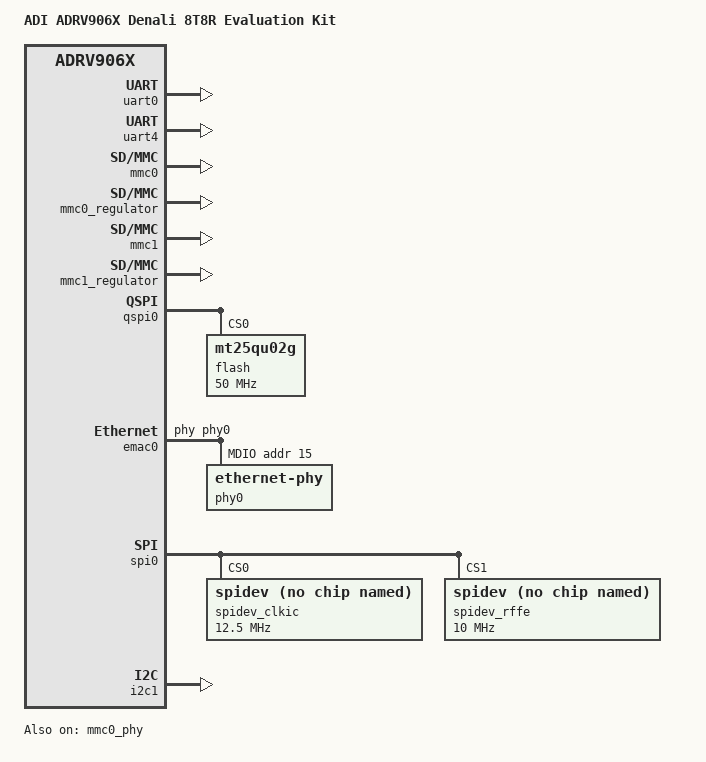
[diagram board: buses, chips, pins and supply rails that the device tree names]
// SPDX-License-Identifier: GPL-2.0
/*
 * Copyright (c) 2023, Analog Devices Incorporated, All Rights Reserved
 */

#include "adrv906x-dual-tile.dtsi"
#include "adrv906x-sysc.dtsi"
#include "adrv906x-protium.dtsi"
#include "adrv906x-eth-8t8r.dtsi"

/ {
	model = "ADI ADRV906X Denali 8T8R Evaluation Kit";
	compatible = "adi,adrv906x-denali-8", "adi,adrv906x";

	chosen {
		bootargs = "console=ttyAMA0,115200n8 earlycon=pl011,0x20060000 rootwait uio_pdrv_genirq.of_id=generic-uio panic=-1 reboot=w";
		stdout-path = &uart0;
	};
};

/* Remove CTSIN and RTSOUT. CTSIN conflicts with GPIO 51 below */
&pinctrl_uart4 {
	adi,pins = <
	UART4_RXSIN_PIN		(ADI_CONFIG_ENABLE_SCHMITT_TRIGGER)
	UART4_TXSOUT_PIN	(ADI_CONFIG_NO_PULL  | ADI_CONFIG_DRIVE_STRENGTH_4)
	>;
};

&uart0 {
	status = "okay";
};

&uart4 {
	status = "okay";
};

&mmc0 {
	status = "okay";
};

&mmc0_regulator {
	status = "okay";
};

&mmc0_phy {
	status = "okay";
};

&mmc1 {
	status = "okay";
};

&mmc1_regulator {
	status = "okay";
};

&qspi0 {
	status = "okay";
	storage,flash-handle = <&flash>;

	flash: mt25q@0 {
		compatible = "mt25qu02g", "jedec,spi-nor";
		spi-max-frequency = <50000000>;
		reg = <0>;
		spi-tx-bus-width = <4>;
		spi-rx-bus-width = <4>;
		adi,enable-dma;

		#include "adrv906x-nor-flash-part.dtsi"
	};
};

&qspi0_dma {
	status = "okay";
};

&emac0 {
	status = "okay";
	/* Default to RGMII. For RMII uncomment the next lines:
	phy-mode = "rmii";
	pinctrl-0 = <&pinctrl_emac0_rmii>; */

	phy-handle = <&phy0>;

	mdio0 {
		#address-cells = <1>;
		#size-cells = <0>;
		compatible = "snps,dwmac-mdio";
		phy0: ethernet-phy@0 {
			reg = <15>;
		};
	};
};

&spi0 {
	status = "okay";

	spidev_clkic@0 {
		compatible = "linux,spidev";
		spi-max-frequency = <12500000>;
		reg = <0>;
	};

	spidev_rffe@1 {
		compatible = "linux,spidev";
		spi-max-frequency = <10000000>;
		reg = <1>;
	};
};

&i2c1 {
	status = "okay";

	/* MAX6581 temp sensor. Bus addr can vary from board
	 * to board, so four different entries are needed.
	 */
	temp-sensor@4c {
		status = "disabled";
		compatible = "maxim,max6581";
		reg = <0x4c>;
		smbus-timeout-disable;
		extended-range-enable;
		resistance-cancellation;
		alert-mask = <0x7f>; 		/* Ignore all alerts */
		over-temperature-mask = <0x7f>;	/* Ignore all alerts */
	};
	temp-sensor@4d {
		status = "disabled";
		compatible = "maxim,max6581";
		reg = <0x4d>;
		smbus-timeout-disable;
		extended-range-enable;
		resistance-cancellation;
		alert-mask = <0x7f>;		/* Ignore all alerts */
		over-temperature-mask = <0x7f>;	/* Ignore all alerts */
	};
	temp-sensor@4e {
		status = "disabled";
		compatible = "maxim,max6581";
		reg = <0x4e>;
		smbus-timeout-disable;
		extended-range-enable;
		resistance-cancellation;
		alert-mask = <0x7f>;		/* Ignore all alerts */
		over-temperature-mask = <0x7f>;	/* Ignore all alerts */
	};
	temp-sensor@4f {
		status = "disabled";
		compatible = "maxim,max6581";
		reg = <0x4f>;
		smbus-timeout-disable;
		extended-range-enable;
		resistance-cancellation;
		alert-mask = <0x7f>;		/* Ignore all alerts */
		over-temperature-mask = <0x7f>;	/* Ignore all alerts */
	};

	board-eeprom@57 {
		status = "disabled";
		compatible = "atmel,24c32";
		reg = <0x57>;
	};

	rtc@68 {
		status = "disabled";
		compatible = "dallas,ds1339";
		reg = <0x68>;
	};
};

&dac0 {
	status = "disabled";
	pinctrl-names = "default";
	pinctrl-0 = <&pinctrl_pwm13>;
};

&pinctrl_hog {
	adi,pins = <
	/* Pins 7-17: RFFE signals */
	RFFE_0_PIN		(ADI_CONFIG_NO_PULL  | ADI_CONFIG_DRIVE_STRENGTH_4)
	RFFE_1_PIN		(ADI_CONFIG_NO_PULL  | ADI_CONFIG_DRIVE_STRENGTH_4)
	RFFE_2_PIN		(ADI_CONFIG_NO_PULL  | ADI_CONFIG_DRIVE_STRENGTH_4)
	RFFE_3_PIN		(ADI_CONFIG_NO_PULL  | ADI_CONFIG_DRIVE_STRENGTH_4)
	RFFE_4_PIN		(ADI_CONFIG_NO_PULL  | ADI_CONFIG_DRIVE_STRENGTH_4)
	RFFE_5_PIN		(ADI_CONFIG_NO_PULL  | ADI_CONFIG_DRIVE_STRENGTH_4)
	RFFE_6_PIN		(ADI_CONFIG_NO_PULL  | ADI_CONFIG_DRIVE_STRENGTH_4)
	RFFE_7_PIN		(ADI_CONFIG_NO_PULL  | ADI_CONFIG_DRIVE_STRENGTH_4)
	RFFE_8_PIN		(ADI_CONFIG_NO_PULL  | ADI_CONFIG_DRIVE_STRENGTH_4)
	RFFE_9_PIN		(ADI_CONFIG_NO_PULL  | ADI_CONFIG_DRIVE_STRENGTH_4)
	RFFE_10_PIN		(ADI_CONFIG_NO_PULL  | ADI_CONFIG_DRIVE_STRENGTH_4)

	/* Pins 22,23: Primary/secondary error signals */
	A55_GPIO_NS_22_PIN	(ADI_CONFIG_NO_PULL  | ADI_CONFIG_DRIVE_STRENGTH_4)
	A55_GPIO_NS_23_PIN	(ADI_CONFIG_ENABLE_SCHMITT_TRIGGER)

	/* Pin 51: Board pushbutton */
	A55_GPIO_NS_51_PIN	(ADI_CONFIG_ENABLE_SCHMITT_TRIGGER)

	/* Pins 56-59,65: QSFP interface */
	A55_GPIO_NS_56_PIN	(ADI_CONFIG_NO_PULL  | ADI_CONFIG_DRIVE_STRENGTH_4)
	A55_GPIO_NS_57_PIN	(ADI_CONFIG_ENABLE_SCHMITT_TRIGGER)
	A55_GPIO_NS_58_PIN	(ADI_CONFIG_NO_PULL  | ADI_CONFIG_DRIVE_STRENGTH_4)
	A55_GPIO_NS_59_PIN	(ADI_CONFIG_ENABLE_SCHMITT_TRIGGER)
	A55_GPIO_NS_65_PIN	(ADI_CONFIG_NO_PULL  | ADI_CONFIG_DRIVE_STRENGTH_4)

	/* Pins 66-73: Debug out signals */
	GPIO_DEBUG_0_PIN	(ADI_CONFIG_NO_PULL  | ADI_CONFIG_DRIVE_STRENGTH_4)
	GPIO_DEBUG_1_PIN	(ADI_CONFIG_NO_PULL  | ADI_CONFIG_DRIVE_STRENGTH_4)
	GPIO_DEBUG_2_PIN	(ADI_CONFIG_NO_PULL  | ADI_CONFIG_DRIVE_STRENGTH_4)
	GPIO_DEBUG_3_PIN	(ADI_CONFIG_NO_PULL  | ADI_CONFIG_DRIVE_STRENGTH_4)
	GPIO_DEBUG_4_PIN	(ADI_CONFIG_NO_PULL  | ADI_CONFIG_DRIVE_STRENGTH_4)
	GPIO_DEBUG_5_PIN	(ADI_CONFIG_NO_PULL  | ADI_CONFIG_DRIVE_STRENGTH_4)
	GPIO_DEBUG_6_PIN	(ADI_CONFIG_NO_PULL  | ADI_CONFIG_DRIVE_STRENGTH_4)
	GPIO_DEBUG_7_PIN	(ADI_CONFIG_NO_PULL  | ADI_CONFIG_DRIVE_STRENGTH_4)

	/* Pins 74-77: Board LEDs */
	A55_GPIO_NS_74_PIN	(ADI_CONFIG_NO_PULL  | ADI_CONFIG_DRIVE_STRENGTH_4)
	A55_GPIO_NS_75_PIN	(ADI_CONFIG_NO_PULL  | ADI_CONFIG_DRIVE_STRENGTH_4)
	A55_GPIO_NS_76_PIN	(ADI_CONFIG_NO_PULL  | ADI_CONFIG_DRIVE_STRENGTH_4)
	A55_GPIO_NS_77_PIN	(ADI_CONFIG_NO_PULL  | ADI_CONFIG_DRIVE_STRENGTH_4)

	/* Pins 42-44,46,51: CPU trace
	 * Enable if needed.
	 * Conflicts with board pushbutton above (pin 51).
	 * Conflicts with SPI_MASTER0_SELB1 above (pin 42).
	 *
	 * TRACE_D0_PIN		(ADI_CONFIG_NO_PULL  | ADI_CONFIG_DRIVE_STRENGTH_4)
	 * TRACE_D1_PIN		(ADI_CONFIG_NO_PULL  | ADI_CONFIG_DRIVE_STRENGTH_4)
	 * TRACE_D2_PIN		(ADI_CONFIG_NO_PULL  | ADI_CONFIG_DRIVE_STRENGTH_4)
	 * TRACE_D3_PIN		(ADI_CONFIG_NO_PULL  | ADI_CONFIG_DRIVE_STRENGTH_4)
	 * TRACE_CLK_PIN	(ADI_CONFIG_NO_PULL  | ADI_CONFIG_DRIVE_STRENGTH_4)
	 */

	/* Pin 134: Ethernet recovered clock */
	ETHERNET_RECOVERED_CLK_PIN (ADI_CONFIG_NO_PULL | ADI_CONFIG_DRIVE_STRENGTH_4)
	>;
};

&pinctrl_secondary_hog {
	adi,pins = <
	/* Pins 22,23: Primary/secondary error signals */
	A55_GPIO_NS_22_PIN	(ADI_CONFIG_NO_PULL  | ADI_CONFIG_DRIVE_STRENGTH_4)
	A55_GPIO_NS_23_PIN	(ADI_CONFIG_ENABLE_SCHMITT_TRIGGER)

	/* Pins 66-73: Debug out signals */
	GPIO_DEBUG_0_PIN	(ADI_CONFIG_NO_PULL  | ADI_CONFIG_DRIVE_STRENGTH_4)
	GPIO_DEBUG_1_PIN	(ADI_CONFIG_NO_PULL  | ADI_CONFIG_DRIVE_STRENGTH_4)
	GPIO_DEBUG_2_PIN	(ADI_CONFIG_NO_PULL  | ADI_CONFIG_DRIVE_STRENGTH_4)
	GPIO_DEBUG_3_PIN	(ADI_CONFIG_NO_PULL  | ADI_CONFIG_DRIVE_STRENGTH_4)
	GPIO_DEBUG_4_PIN	(ADI_CONFIG_NO_PULL  | ADI_CONFIG_DRIVE_STRENGTH_4)
	GPIO_DEBUG_5_PIN	(ADI_CONFIG_NO_PULL  | ADI_CONFIG_DRIVE_STRENGTH_4)
	GPIO_DEBUG_6_PIN	(ADI_CONFIG_NO_PULL  | ADI_CONFIG_DRIVE_STRENGTH_4)
	GPIO_DEBUG_7_PIN	(ADI_CONFIG_NO_PULL  | ADI_CONFIG_DRIVE_STRENGTH_4)

	/* Pin 134: Ethernet recovered clock */
	ETHERNET_RECOVERED_CLK_PIN (ADI_CONFIG_NO_PULL | ADI_CONFIG_DRIVE_STRENGTH_4)
	>;
};

